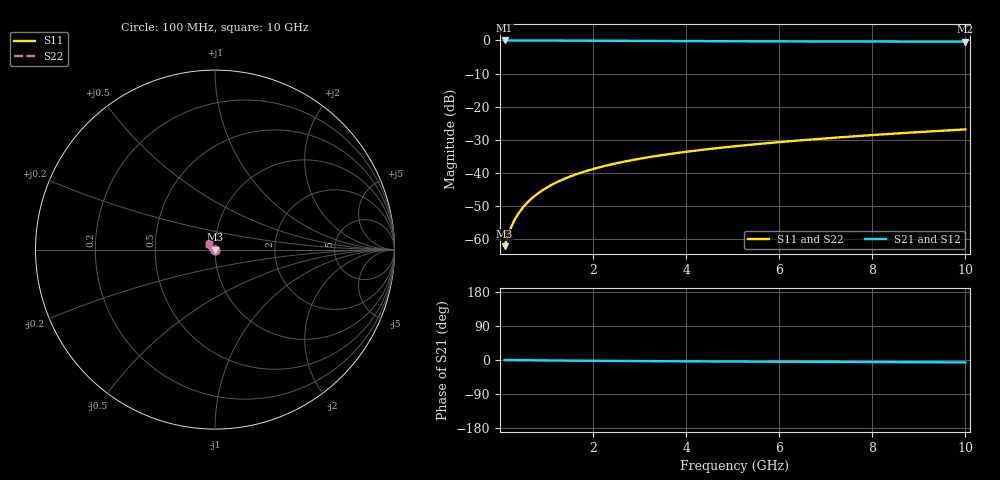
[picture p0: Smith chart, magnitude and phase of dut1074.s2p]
! Touchstone file exported from HFSS 2024.1.0
!  File:  C:/UserFiles/LocalFiles/RDL_TSV_Batchsim/temp_TSV1_1074_1780064658.aedt
!  Generated:  10:33:22 PM May 29, 2026
!  Design:  TSV1
!  Project:  temp_TSV1_1074_1780064658
!  Setup:  Setup1
!  Solution:  Sweep
! Variables:
!  dtsv = 5.53um
!  hbump = 3um
!  htsv = 94.52um
!  lrdl = 252.1521522um
!  p = 40
!  p1 = 51.48um
!  t = 500um
!  trdl = 3um
!  wrdl = 24.89489489um
# GHz S MA R 50.000000
! Terminal data exported
! Port[1] = TSV22_T1
! Port[2] = TSV22_T2
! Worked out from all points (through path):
!   100 points, 100 MHz to 10 GHz, reference 50 ohm
!   highest |S21| = 0.00 dB at 100 MHz (marker M1); lowest = -0.4 dB at 10 GHz (marker M2)
!   lowest |S11| = -62.1 dB at 100 MHz (marker M3), VSWR 1.00, Z = 50 - j0.0613 ohm
!   |S11| at or under -10 dB: start of sweep to end of sweep
!   |S22| runs from -62.1 to -26.9 dB; largest |S21 - S12| = 5.6e-15
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0.1  0.0007826 -51.5  0.9995 -0.1  0.9995 -0.1  0.0007826 -51.5
! Gamma 0 0 0 0
! Port Impedance 50 0 50 0
0.2  0.001306 -71.4  0.9994 -0.2  0.9994 -0.2  0.001306 -71.4
0.3  0.001876 -81.1  0.9992 -0.3  0.9992 -0.3  0.001876 -81.1
0.4  0.002459 -87.4  0.999 -0.5  0.999 -0.5  0.002459 -87.4
0.5  0.003047 -92.1  0.9988 -0.6  0.9988 -0.6  0.003047 -92.1
0.6  0.003635 -96.1  0.9985 -0.7  0.9985 -0.7  0.003635 -96.1
0.7  0.004222 -99.6  0.9982 -0.8  0.9982 -0.8  0.004222 -99.6
0.8  0.004806 -102.8  0.9978 -0.9  0.9978 -0.9  0.004806 -102.8
0.9  0.005387 -105.8  0.9974 -1.0  0.9974 -1.0  0.005387 -105.8
1.1  0.006536 -111.4  0.9965 -1.2  0.9965 -1.2  0.006536 -111.4
1.4  0.008222 -119.1  0.9949 -1.5  0.9949 -1.5  0.008222 -119.1
1.6  0.009318 -123.8  0.9937 -1.7  0.9937 -1.7  0.009318 -123.8
1.8  0.01039 -128.4  0.9924 -1.9  0.9924 -1.9  0.01039 -128.4
2.1  0.01195 -134.9  0.9904 -2.2  0.9904 -2.2  0.01195 -134.9
2.5  0.01396 -143.0  0.9876 -2.5  0.9876 -2.5  0.01396 -143.0
2.9  0.01588 -150.5  0.9848 -2.8  0.9848 -2.8  0.01588 -150.5
3.4  0.01818 -159.0  0.9814 -3.1  0.9814 -3.1  0.01818 -159.0
4.2  0.02168 -171.0  0.9766 -3.6  0.9766 -3.6  0.02168 -171.0
5.1  0.02545 177.6  0.972 -4.1  0.972 -4.1  0.02545 177.6
6.7  0.03198 161.6  0.9659 -4.8  0.9659 -4.8  0.03198 161.6
8.4  0.03886 148.9  0.9614 -5.6  0.9614 -5.6  0.03886 148.9
10  0.04536 139.7  0.9584 -6.3  0.9584 -6.3  0.04535 139.7
